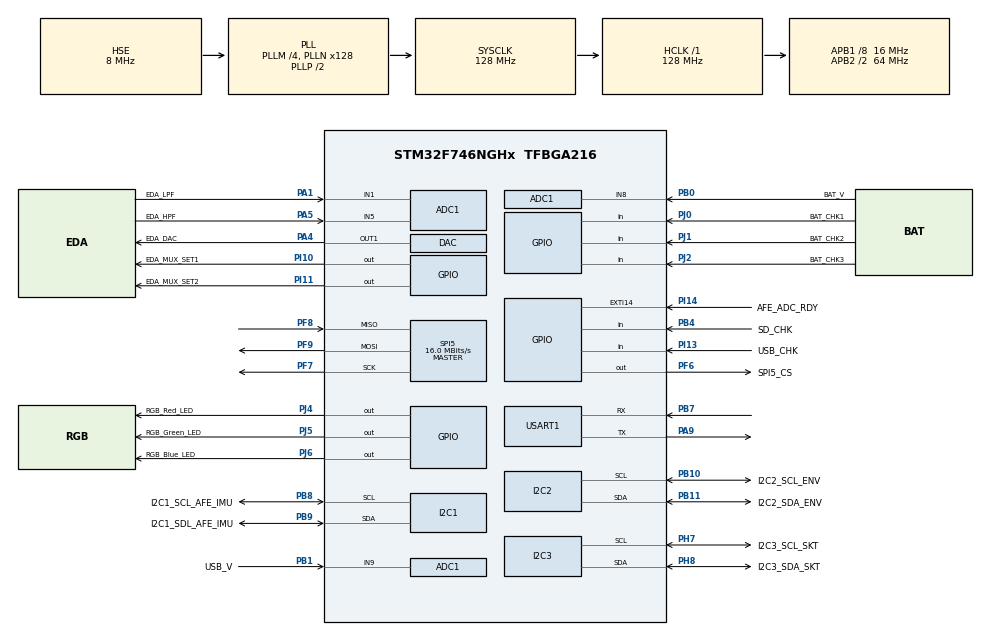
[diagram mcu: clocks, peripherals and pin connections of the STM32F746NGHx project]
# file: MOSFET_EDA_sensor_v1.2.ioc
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ADC1.Channel-0\#ChannelRegularConversion=ADC_CHANNEL_1
ADC1.Channel-1\#ChannelRegularConversion=ADC_CHANNEL_5
ADC1.Channel-2\#ChannelRegularConversion=ADC_CHANNEL_8
ADC1.Channel-3\#ChannelRegularConversion=ADC_CHANNEL_9
ADC1.ClockPrescaler=ADC_CLOCK_SYNC_PCLK_DIV4
ADC1.DMAContinuousRequests=ENABLE
ADC1.NbrOfConversion=4
ADC1.NbrOfConversionFlag=1
ADC1.Rank-0\#ChannelRegularConversion=1
ADC1.Rank-1\#ChannelRegularConversion=2
ADC1.Rank-2\#ChannelRegularConversion=3
ADC1.Rank-3\#ChannelRegularConversion=4
ADC1.SamplingTime-0\#ChannelRegularConversion=ADC_SAMPLETIME_84CYCLES
ADC1.SamplingTime-1\#ChannelRegularConversion=ADC_SAMPLETIME_84CYCLES
ADC1.SamplingTime-2\#ChannelRegularConversion=ADC_SAMPLETIME_84CYCLES
ADC1.SamplingTime-3\#ChannelRegularConversion=ADC_SAMPLETIME_84CYCLES
ADC1.ScanConvMode=ADC_SCAN_ENABLE
ADC1.master=1
Dma.ADC1.0.Direction=DMA_PERIPH_TO_MEMORY
Dma.ADC1.0.FIFOMode=DMA_FIFOMODE_DISABLE
Dma.ADC1.0.Instance=DMA2_Stream0
Dma.ADC1.0.MemDataAlignment=DMA_MDATAALIGN_HALFWORD
Dma.ADC1.0.MemInc=DMA_MINC_ENABLE
Dma.ADC1.0.Mode=DMA_CIRCULAR
Dma.ADC1.0.PeriphDataAlignment=DMA_PDATAALIGN_HALFWORD
Dma.ADC1.0.PeriphInc=DMA_PINC_DISABLE
Dma.ADC1.0.Priority=DMA_PRIORITY_LOW
Dma.Request0=ADC1
FATFS._MAX_SS=4096
FATFS._USE_LFN=1
Mcu.Family=STM32F7
Mcu.Name=STM32F746NGHx
Mcu.Package=TFBGA216
NVIC.ADC_IRQn=true\:0\:0\:false\:false\:true\:true\:true\:true
NVIC.DMA2_Stream0_IRQn=true\:0\:0\:false\:false\:true\:false\:true\:true
NVIC.PriorityGroup=NVIC_PRIORITYGROUP_4
NVIC.TIM3_IRQn=true\:0\:0\:false\:false\:true\:true\:true\:true
PA1.GPIO_Label=EDA_LPF
PA1.Signal=ADCx_IN1
PA13.Mode=Serial_Wire
PA13.Signal=SYS_JTMS-SWDIO
PA14.Mode=Serial_Wire
PA14.Signal=SYS_JTCK-SWCLK
PA4.GPIO_Label=EDA_DAC
PA4.Signal=COMP_DAC1_group
PA5.GPIO_Label=EDA_HPF
PA5.Signal=ADCx_IN5
PA9.Mode=Asynchronous
PA9.Signal=USART1_TX
PB0.GPIO_Label=BAT_V
PB0.Signal=ADCx_IN8
PB1.GPIO_Label=USB_V
PB1.Signal=ADCx_IN9
PB10.GPIO_Label=I2C2_SCL_ENV
PB10.Mode=I2C
PB10.Signal=I2C2_SCL
PB11.GPIO_Label=I2C2_SDA_ENV
PB11.Mode=I2C
PB11.Signal=I2C2_SDA
PB4.GPIO_Label=SD_CHK
PB4.Signal=GPIO_Input
PB7.Mode=Asynchronous
PB7.Signal=USART1_RX
PB8.GPIO_Label=I2C1_SCL_AFE_IMU
PB8.Mode=I2C
PB8.Signal=I2C1_SCL
PB9.GPIO_Label=I2C1_SDL_AFE_IMU
PB9.Mode=I2C
PB9.Signal=I2C1_SDA
PF6.GPIO_Label=SPI5_CS
PF6.PinState=GPIO_PIN_SET
PF6.Signal=GPIO_Output
PF7.Mode=Full_Duplex_Master
PF7.Signal=SPI5_SCK
PF8.Mode=Full_Duplex_Master
PF8.Signal=SPI5_MISO
PF9.Mode=Full_Duplex_Master
PF9.Signal=SPI5_MOSI
PH0/OSC_IN.Mode=HSE-External-Oscillator
PH0/OSC_IN.Signal=RCC_OSC_IN
PH1/OSC_OUT.Mode=HSE-External-Oscillator
PH1/OSC_OUT.Signal=RCC_OSC_OUT
PH7.GPIO_Label=I2C3_SCL_SKT
PH7.Mode=I2C
PH7.Signal=I2C3_SCL
PH8.GPIO_Label=I2C3_SDA_SKT
PH8.Mode=I2C
PH8.Signal=I2C3_SDA
PI10.GPIO_Label=EDA_MUX_SET1
PI10.PinState=GPIO_PIN_SET
PI10.Signal=GPIO_Output
PI11.GPIO_Label=EDA_MUX_SET2
PI11.PinState=GPIO_PIN_RESET
PI11.Signal=GPIO_Output
PI13.GPIO_Label=USB_CHK
PI13.Signal=GPIO_Input
PI14.GPIO_Label=AFE_ADC_RDY
PI14.Signal=GPXTI14
PJ0.GPIO_Label=BAT_CHK1
PJ0.Signal=GPIO_Input
PJ1.GPIO_Label=BAT_CHK2
PJ1.Signal=GPIO_Input
PJ2.GPIO_Label=BAT_CHK3
PJ2.Signal=GPIO_Input
PJ4.GPIO_Label=RGB_Red_LED
PJ4.PinState=GPIO_PIN_SET
PJ4.Signal=GPIO_Output
PJ5.GPIO_Label=RGB_Green_LED
PJ5.PinState=GPIO_PIN_SET
PJ5.Signal=GPIO_Output
PJ6.GPIO_Label=RGB_Blue_LED
PJ6.PinState=GPIO_PIN_SET
PJ6.Signal=GPIO_Output
ProjectManager.HeapSize=0x200
ProjectManager.StackSize=0x400
ProjectManager.TargetToolchain=STM32CubeIDE
RCC.AHBFreq_Value=128000000
RCC.APB1CLKDivider=RCC_HCLK_DIV8
RCC.APB1Freq_Value=16000000
RCC.APB1TimFreq_Value=32000000
RCC.APB2CLKDivider=RCC_HCLK_DIV2
RCC.APB2Freq_Value=64000000
RCC.APB2TimFreq_Value=128000000
RCC.CortexFreq_Value=128000000
RCC.HCLKFreq_Value=128000000
RCC.HSE_VALUE=8000000
RCC.HSI_VALUE=16000000
RCC.LSE_VALUE=32768
RCC.PLLM=4
RCC.PLLN=128
RCC.PLLSourceVirtual=RCC_PLLSOURCE_HSE
RCC.SYSCLKFreq_VALUE=128000000
RCC.SYSCLKSource=RCC_SYSCLKSOURCE_PLLCLK
RCC.USART1CLockSelection=RCC_USART1CLKSOURCE_HSI
RCC.USBFreq_Value=128000000
RCC.VCOOutputFreq_Value=256000000
SH.ADCx_IN1.0=ADC1_IN1,IN1
SH.ADCx_IN5.0=ADC1_IN5,IN5
SH.ADCx_IN8.0=ADC1_IN8,IN8
SH.ADCx_IN9.0=ADC1_IN9,IN9
SH.COMP_DAC1_group.0=DAC_OUT1,DAC_OUT1
SPI5.BaudRatePrescaler=SPI_BAUDRATEPRESCALER_4
SPI5.CalculateBaudRate=16.0 MBits/s
SPI5.Direction=SPI_DIRECTION_2LINES
SPI5.Mode=SPI_MODE_MASTER
SPI5.VirtualType=VM_MASTER
TIM3.Period=249
TIM3.Prescaler=1000
USART1.VirtualMode-Asynchronous=VM_ASYNC
VP_FATFS_VS_Generic.Mode=User_defined
VP_TIM3_VS_ClockSourceINT.Mode=Internal
board=custom

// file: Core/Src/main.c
/* USER CODE BEGIN Header */
/**
  ******************************************************************************
  * @file           : main.c
  * @brief          : Main program body
  ******************************************************************************
  * @attention
  *
  * Copyright (c) 2024 STMicroelectronics.
  * All rights reserved.
  *
  * This software is licensed under terms that can be found in the LICENSE file
  * in the root directory of this software component.
  * If no LICENSE file comes with this software, it is provided AS-IS.
  *
  ******************************************************************************
  */
/* USER CODE END Header */
#include "main.h"
#include "adc.h"
#include "dac.h"
#include "dma.h"
#include "fatfs.h"
#include "i2c.h"
#include "spi.h"
#include "tim.h"
#include "usart.h"
#include "gpio.h"

/* USER CODE BEGIN Includes */
#include "math.h"
/* USER CODE END Includes */

/* USER CODE BEGIN PD */
#define fs					128//hz

/* USER CODE END PD */

/* USER CODE BEGIN PV */
float ms = 0;
uint8_t sec = 0;
uint16_t min = 0;
uint16_t ms_idx = 0;

/* ADC variables */
uint16_t ADC_value[4] = {0,};

/* DAC variables */
uint16_t DAC_value = 0;
uint16_t middle_DAC_value = 0;
uint16_t end_DAC_value = 0;
uint16_t start_DAC_value = 0;
uint16_t min_DAC_value = 0;
uint16_t max_DAC_value = 0;

/* Power variables */
float BAT_V_ADC = 0.0;
float USB_V_ADC = 0.0;

/* EDA variables */
// MOSFET
float Vgs = 0.0;
float Vth = 0.5;
float Ids_LUT[2][4096] = {0,};
int Ids_i = 0;
float Ids[8192] = {0,};
uint16_t Ids_len = 0;

// input ouput
float EDA_LPF_ADC = 0.0;
float EDA_HPF_ADC = 0.0;

float Vin = 0.5;
float Vout[2][4096] = {0.0, };

int Rfeed_i = 0;
float Rfeed[2] = {1000000, 100000};

/* USER CODE END PV */

void SystemClock_Config(void);

int main(void)
{

  /* MCU Configuration--------------------------------------------------------*/

  /* Reset of all peripherals, Initializes the Flash interface and the Systick. */
  HAL_Init();

  /* Configure the system clock */
  SystemClock_Config();

  /* Initialize all configured peripherals */
  MX_GPIO_Init();
  MX_DMA_Init();
  MX_SPI5_Init();
  MX_FATFS_Init();
  MX_ADC1_Init();
  MX_DAC_Init();
  MX_I2C1_Init();
  MX_I2C2_Init();
  MX_I2C3_Init();
  MX_TIM3_Init();
  MX_USART1_UART_Init();
  /* USER CODE BEGIN 2 */
  /* EDA initialization */

  while(1)
  {
	  EDA_Ids_calibration();
  }
//  HAL_TIM_Base_Start_IT(&htim3);

  /* USER CODE END 2 */

  /* Infinite loop */
  while (1)
  {

  }
}

void SystemClock_Config(void)
{
  RCC_OscInitTypeDef RCC_OscInitStruct = {0};
  RCC_ClkInitTypeDef RCC_ClkInitStruct = {0};

  /** Configure the main internal regulator output voltage
  */
  __HAL_RCC_PWR_CLK_ENABLE();
  __HAL_PWR_VOLTAGESCALING_CONFIG(PWR_REGULATOR_VOLTAGE_SCALE3);

  /** Initializes the RCC Oscillators according to the specified parameters
  * in the RCC_OscInitTypeDef structure.
  */
  RCC_OscInitStruct.OscillatorType = RCC_OSCILLATORTYPE_HSI|RCC_OSCILLATORTYPE_HSE;
  RCC_OscInitStruct.HSEState = RCC_HSE_ON;
  RCC_OscInitStruct.HSIState = RCC_HSI_ON;
  RCC_OscInitStruct.HSICalibrationValue = RCC_HSICALIBRATION_DEFAULT;
  RCC_OscInitStruct.PLL.PLLState = RCC_PLL_ON;
  RCC_OscInitStruct.PLL.PLLSource = RCC_PLLSOURCE_HSE;
  RCC_OscInitStruct.PLL.PLLM = 4;
  RCC_OscInitStruct.PLL.PLLN = 128;
  RCC_OscInitStruct.PLL.PLLP = RCC_PLLP_DIV2;
  RCC_OscInitStruct.PLL.PLLQ = 2;
  if (HAL_RCC_OscConfig(&RCC_OscInitStruct) != HAL_OK)
  {
    Error_Handler();
  }

  /** Initializes the CPU, AHB and APB buses clocks
  */
  RCC_ClkInitStruct.ClockType = RCC_CLOCKTYPE_HCLK|RCC_CLOCKTYPE_SYSCLK
                              |RCC_CLOCKTYPE_PCLK1|RCC_CLOCKTYPE_PCLK2;
  RCC_ClkInitStruct.SYSCLKSource = RCC_SYSCLKSOURCE_PLLCLK;
  RCC_ClkInitStruct.AHBCLKDivider = RCC_SYSCLK_DIV1;
  RCC_ClkInitStruct.APB1CLKDivider = RCC_HCLK_DIV8;
  RCC_ClkInitStruct.APB2CLKDivider = RCC_HCLK_DIV2;

  if (HAL_RCC_ClockConfig(&RCC_ClkInitStruct, FLASH_LATENCY_4) != HAL_OK)
  {
    Error_Handler();
  }
}

/* USER CODE BEGIN 4 */
int _write(int32_t file, uint8_t *ptr, int32_t len)
{
	HAL_UART_Transmit(&huart1, ptr, len, 20);

	return len;
}

void HAL_TIM_PeriodElapsedCallback(TIM_HandleTypeDef *htim)
{
	if(htim->Instance == TIM3)
	{
		ms = (float)ms_idx/fs;

		/* measure ADC value */
		HAL_ADC_Start_DMA(&hadc1, (uint32_t*)ADC_value, 4);

		/* Power ADC */
		BAT_V_ADC = ( (float)ADC_value[2] / 4096 ) * 3.3;
		USB_V_ADC = ( (float)ADC_value[3] / 4096 ) * 3.3;

		/* EDA value ADC */
		EDA_LPF_ADC  = ( (float)ADC_value[0] / 4096 ) * 3.3;
		EDA_HPF_ADC = ( (float)ADC_value[1] / 4096 ) * 3.3;

		printf("%dm %.3fs\tEDA_LPF_ADC = %f\tEDA_HPF_ADC = %f\r\n", min, sec+ms, EDA_LPF_ADC, EDA_HPF_ADC);
		if(ms_idx >= fs)
		{
			ms_idx = 0;
			sec++;

			if(sec >= 60)
			{
				sec = 0;
				min++;
			}
		}
		ms_idx++;
	}
}

void EDA_Ids_calibration(void)
{
	// 1) Measurement Ids for 1Mohm, 100kohm Rfeed
	for (Rfeed_i = 0; Rfeed_i<2; Rfeed_i++)
	{
		HAL_DAC_SetValue(&hdac, DAC_CHANNEL_1, DAC_ALIGN_12B_R, 0);
		HAL_DAC_Start(&hdac, DAC_CHANNEL_1);
		HAL_Delay(1000);
		if (Rfeed_i == 0)
		{
			// 1Mohm
			HAL_GPIO_WritePin(EDA_MUX_SET1_GPIO_Port, EDA_MUX_SET1_Pin, GPIO_PIN_RESET);
			HAL_GPIO_WritePin(EDA_MUX_SET2_GPIO_Port, EDA_MUX_SET2_Pin, GPIO_PIN_SET);
		}
	    else if (Rfeed_i == 1)
	    {
		    // 100kohm
		    HAL_GPIO_WritePin(EDA_MUX_SET1_GPIO_Port, EDA_MUX_SET1_Pin, GPIO_PIN_SET);
		    HAL_GPIO_WritePin(EDA_MUX_SET2_GPIO_Port, EDA_MUX_SET2_Pin, GPIO_PIN_SET);
	    }
	    for (DAC_value = 0; DAC_value < 4096; DAC_value++)
	    {
	    	HAL_DAC_SetValue(&hdac, DAC_CHANNEL_1, DAC_ALIGN_12B_R, DAC_value);
	    	HAL_DAC_Start(&hdac, DAC_CHANNEL_1);
	    	HAL_Delay(2);
	    	Vgs = (float)DAC_value / 4096 * 3.3;

	    	/* measure ADC value */
	    	HAL_ADC_Start_DMA(&hadc1, (uint32_t*)ADC_value, 4);

	    	/* EDA value ADC */
	    	EDA_LPF_ADC  = ( (float)ADC_value[0] / 4096 ) * 3.3;
	    	Vout[Rfeed_i][DAC_value] = EDA_LPF_ADC;
	    	if (Vout[Rfeed_i][DAC_value] <= 3.25 & Rfeed_i == 0)
	    	{
	    		middle_DAC_value = DAC_value;
	    	}
	    	else if (Vout[Rfeed_i][DAC_value] <= 3.25 & Rfeed_i == 1)
	    	{
	    		end_DAC_value = DAC_value;
	    	}

	    	/* Calculation Ids(uA) */
	    	Ids_LUT[Rfeed_i][DAC_value] = (Vout[Rfeed_i][DAC_value] - Vin) * 1000000 / Rfeed[Rfeed_i];
	    	if (Ids_LUT[Rfeed_i][DAC_value] < 0)
			{
	    		Ids_LUT[Rfeed_i][DAC_value] = Ids_LUT[Rfeed_i][DAC_value-1];
			}
//	    	printf("DAC = %d\tVout = %f\tIds_LUT = %f\tmiddle_DAC = %d\tend_DAC = %d\r\n", DAC_value, Vout[Rfeed_i][DAC_value], Ids_LUT[Rfeed_i][DAC_value], middle_DAC_value, end_DAC_value);
	    }
	}

	// 2) Extract Ids for need
	start_DAC_value = (Vth / 3.3) * 4096;
	for (Rfeed_i=0; Rfeed_i<2; Rfeed_i++)
	{
		for (DAC_value = start_DAC_value; DAC_value<middle_DAC_value; DAC_value++)
		{
		  Ids[Ids_i] = Ids_LUT[Rfeed_i][DAC_value];
//		  printf("Ids[%d] = %f\r\n", Ids_i, Ids[Ids_i]);
		  Ids_i++;
		}
		start_DAC_value = middle_DAC_value;
		middle_DAC_value = end_DAC_value;
	}

	min_DAC_value = (Vth / 3.3) * 4096;
	max_DAC_value = end_DAC_value;

//	printf("min_DAC = %d\tmax_DAC = %d\r\n", min_DAC_value, max_DAC_value);
	Ids_len = Ids_i;
	Ids_i = 0;

	// 3) Ids print for modeling

	float *ln_Ids = (int *)malloc(Ids_len * sizeof(int));

	printf("Ids for STM\r\n");
	uint16_t ln_Ids_i = 0;

	for (DAC_value = min_DAC_value; DAC_value < max_DAC_value; DAC_value++)
	{
		if(ln_Ids_i % 10 == 0)
		{
			printf("\r\n");
		}
		printf("%f, ", Ids[ln_Ids_i]);

		ln_Ids_i++;
	}

	printf("\r\nIds for MATLAB\r\n");
	ln_Ids_i = 0;

	for (DAC_value = min_DAC_value; DAC_value < max_DAC_value; DAC_value++)
	{
		printf("%f\r\n", Ids[ln_Ids_i]);
		ln_Ids_i++;
	}

	printf("ln_Ids for STM\r\n");
	ln_Ids_i = 0;

	for (DAC_value = min_DAC_value; DAC_value < max_DAC_value; DAC_value++)
	{
		ln_Ids[ln_Ids_i] = log(Ids[ln_Ids_i]);

		if(ln_Ids_i % 10 == 0)
		{
			printf("\r\n");
		}
		printf("%f, ", ln_Ids[ln_Ids_i]);

		ln_Ids_i++;
	}

	printf("\r\nln_Ids for MATLAB\r\n");
	ln_Ids_i = 0;
	for (DAC_value = min_DAC_value; DAC_value < max_DAC_value; DAC_value++)
	{
		ln_Ids[ln_Ids_i] = log(Ids[ln_Ids_i]);

		printf("%f\r\n", ln_Ids[ln_Ids_i]);
		ln_Ids_i++;
	}

	int n = max_DAC_value - min_DAC_value;
	float a, b, c, d;

	// https://www.gnu.org/software/gsl/
	// GSL-2.7
	least_squares(n, ln_Ids, a, b, c, d);
    printf("cubic polynomial : y = %.2fx^3 + %.2fx^2 + %.2fx + %.2f\n", a, b, c, d);

	return 0;
}

void least_squares(int n, float y[], float *a, float *b, float *c, float *d) {
    double sum_x = 0.0, sum_x_squared = 0.0, sum_x_cubed = 0.0, sum_x_quartic = 0.0;
    double sum_y = 0.0, sum_xy = 0.0, sum_x_squared_y = 0.0, sum_x_cubed_y = 0.0;

    // 각 변수의 합 계산
    for (int i = 0; i < n; i++) {
    	float xi = i;
    	float yi = y[i];
    	float xi_squared = xi * xi;
    	float xi_cubed = xi_squared * xi;

        sum_x += xi;
        sum_y += yi;
        sum_x_squared += xi_squared;
        sum_x_cubed += xi_cubed;
        sum_x_quartic += xi_squared * xi_squared;
        sum_xy += xi * yi;
        sum_x_squared_y += xi_squared * yi;
        sum_x_cubed_y += xi_cubed * yi;
    }

    // 3차 다항식의 계수 계산
    float denominator = n * sum_x_squared * sum_x_quartic -
                         sum_x_cubed * sum_x_squared * sum_x -
                         sum_x_quartic * sum_x * sum_x +
                         sum_x_cubed * sum_x_cubed;

    *a = (sum_y * sum_x_squared * sum_x_quartic -
          sum_x_cubed_y * sum_x_squared * sum_x -
          sum_x_quartic * sum_xy * sum_x +
          sum_x_cubed * sum_x_squared_y * n +
          sum_x_cubed * sum_x * sum_x * sum_xy -
          sum_x_cubed * sum_x_squared * sum_y) / denominator;

    *b = (-sum_x_quartic * sum_xy * sum_x +
          sum_x_cubed_y * sum_x_cubed * sum_x_squared -
          sum_x_squared_y * sum_x_squared * sum_x_quartic +
          sum_x_cubed * sum_x * sum_x_squared * sum_y +
          sum_x_squared * sum_x * sum_x_squared * sum_xy -
          sum_x_cubed * sum_x_squared * sum_x_squared_y) / denominator;

    *c = (sum_x_quartic * sum_x_squared * sum_xy -
          sum_x_squared * sum_x_cubed_y * sum_x_squared +
          sum_x_squared_y * sum_x_cubed * sum_x_squared -
          sum_x_quartic * sum_x_squared * sum_x_squared_y +
          sum_x_cubed * sum_x_squared * sum_x_squared * sum_x -
          sum_x_cubed * sum_x_squared * sum_x_squared_y * n) / denominator;

    *d = (-sum_x_squared * sum_x_squared * sum_xy * sum_x +
          sum_x_squared_y * sum_x_cubed * sum_x_squared * sum_x -
          sum_x_cubed_y * sum_x_squared * sum_x_squared * sum_x +
          sum_x_squared * sum_x_cubed * sum_x_squared * sum_x_squared -
          sum_x_squared * sum_x_squared * sum_x_squared * sum_x_squared_y +
          sum_x_cubed * sum_x_squared * sum_x_squared * sum_x_squared_y * n) / denominator;
}

/* USER CODE END 4 */

void Error_Handler(void)
{
  __disable_irq();
  while (1)
  {
  }
}
